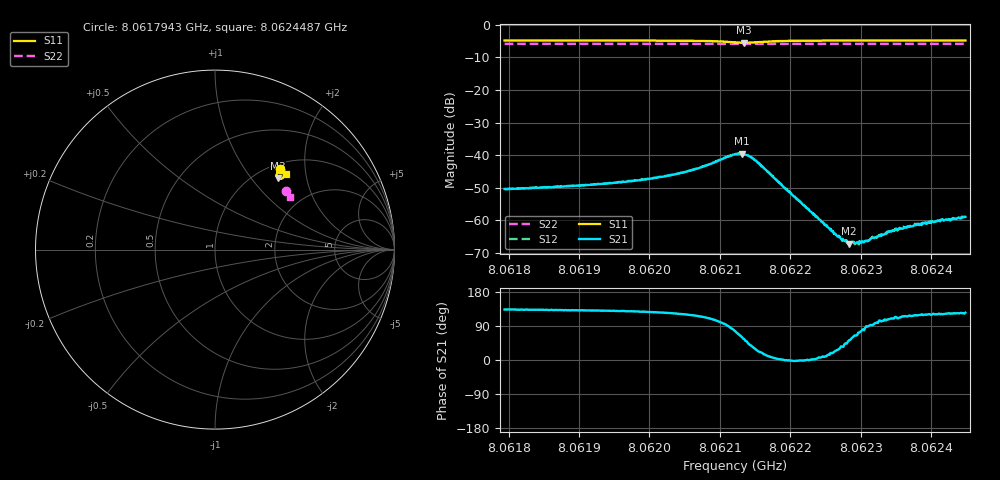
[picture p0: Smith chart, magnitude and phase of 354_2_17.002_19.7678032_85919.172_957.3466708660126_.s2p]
#  HZ  S  RI  R  50.00
! Rohde & Schwarz Vector Network Analyzer
! Rohde-Schwarz,ZNB20-2Port,1311601062101988,3.16
! Created: UTC 3/20/2024, 11:07:57 PM
! freq[Hz]  re:S11  im:S11  re:S21  im:S21  re:S12  im:S12  re:S22  im:S22
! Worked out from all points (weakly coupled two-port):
!   401 points, 8.0617943 GHz to 8.0624487 GHz, reference 50 ohm
!   highest |S21| = -39.56 dB at 8.0621313 GHz (marker M1); lowest = -67.3 dB at 8.0622834 GHz (marker M2)
!   lowest |S11| = -5.5 dB at 8.0621346 GHz (marker M3), VSWR 3.27, Z = 61.7 + j68.7 ohm
!   |S11| at or under -10 dB: nowhere
!   |S22| runs from -5.9 to -5.8 dB; largest |S21 - S12| = 0.00071
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8.06179429e9  0.3638 0.4466  -0.00206 0.00219  -0.00196 0.00232  0.3967 0.3243
8.0619039e9  0.3714 0.4399  -0.00227 0.00257  -0.0021 0.00272  0.4008 0.3187
8.06196279e9  0.3757 0.4356  -0.00246 0.00299  -0.00233 0.00319  0.403 0.3158
8.06201351e9  0.3798 0.4303  -0.00266 0.00373  -0.00245 0.00393  0.4049 0.313
8.06206749e9  0.3844 0.4196  -0.00276 0.00554  -0.00241 0.00578  0.4069 0.31
8.06212148e9  0.3666 0.3945  0.00243 0.01  0.00299 0.00997  0.4075 0.3064
8.06213129e9  0.3542 0.3967  0.00518 0.00915  0.00579 0.00885  0.4075 0.3064
8.06213457e9  0.3504 0.3992  0.00589 0.00841  0.00652 0.00813  0.4073 0.3063
8.06214275e9  0.3443 0.4084  0.00732 0.00606  0.00758 0.00575  0.4074 0.3064
8.06215256e9  0.3439 0.4199  0.00715 0.00345  0.00742 0.00303  0.408 0.3065
8.06223109e9  0.3722 0.4347  0.0013 3.94e-05  0.00133 -2.55e-05  0.412 0.3031
8.0622638e9  0.3775 0.4327  0.000565 0.000249  0.000572 0.000185  0.4134 0.3011
8.06228344e9  0.3797 0.4314  0.000268 0.000341  0.000297 0.00036  0.4141 0.3003
8.06229325e9  0.3808 0.4307  0.000192 0.000403  0.000194 0.000397  0.4145 0.2998
8.06229979e9  0.3815 0.4304  0.000112 0.00043  0.000139 0.000446  0.4146 0.2994
8.06230797e9  0.3823 0.4298  7.12e-06 0.000483  6.82e-05 0.000475  0.415 0.2991
8.06231615e9  0.383 0.4294  -1.78e-05 0.000533  7.44e-06 0.000547  0.4153 0.2985
8.06233251e9  0.3845 0.4283  -0.000139 0.000583  -0.000118 0.000586  0.4159 0.2979
8.06234069e9  0.3853 0.4278  -0.000213 0.000641  -0.000142 0.000646  0.4162 0.2973
8.06237832e9  0.3881 0.4256  -0.0004 0.000736  -0.00035 0.000796  0.4174 0.2953
8.06239959e9  0.3896 0.4243  -0.000468 0.000837  -0.000438 0.000799  0.4182 0.294
8.06244866e9  0.393 0.4215  -0.00064 0.000918  -0.000549 0.000988  0.4199 0.2916
